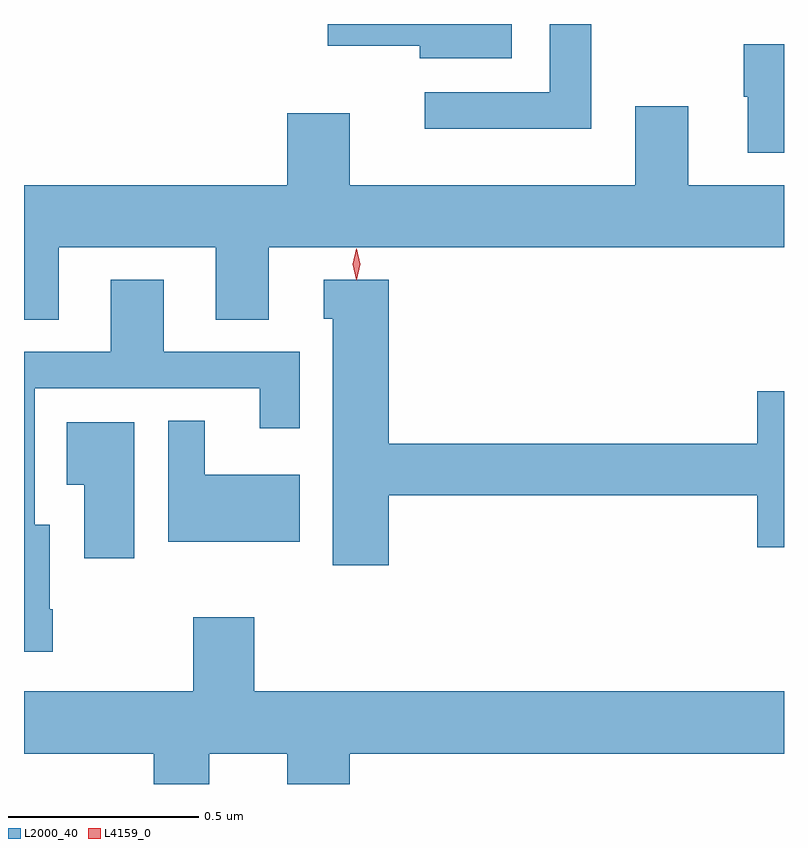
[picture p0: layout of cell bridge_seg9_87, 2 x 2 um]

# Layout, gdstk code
import gdstk
lib = gdstk.Library(unit=1e-6, precision=1e-09)
def P(c, l, *ps):  # polygons
    for p in ps: c.add(gdstk.Polygon(p, *l))
L2000_40 = (2000, 40)
L4159_0 = (4159, 0)

bridge_seg9_87 = lib.new_cell('bridge_seg9_87')
P(bridge_seg9_87, L2000_40, [(824.938,1230.308),(824.454,1230.308),(824.454,1230.251),(824.696,1230.251),(824.696,1230.218),(824.938,1230.218)],
  [(825.148,1230.308),(825.039,1230.308),(825.039,1230.129),(824.709,1230.129),(824.709,1230.032),(825.148,1230.032)],
  [(825.655,1230.255),(825.549,1230.255),(825.549,1230.116),(825.56,1230.116),(825.56,1229.969),(825.655,1229.969)],
  [(823.747,1229.72),(824.159,1229.72),(824.159,1229.53),(824.299,1229.53),(824.299,1229.72),(825.655,1229.72),(825.655,1229.884),(825.403,1229.884),(825.403,1230.091),(825.263,1230.091),(825.263,1229.884),(824.512,1229.884),(824.512,1230.073),(824.348,1230.073),(824.348,1229.884),(823.655,1229.884),(823.655,1229.53),(823.747,1229.53)],
  [(824.615,1229.068),(825.584,1229.068),(825.584,1228.931),(825.655,1228.931),(825.655,1229.341),(825.584,1229.341),(825.584,1229.204),(824.615,1229.204),(824.615,1229.635),(824.444,1229.635),(824.444,1229.532),(824.468,1229.532),(824.468,1228.884),(824.615,1228.884)],
  [(823.731,1228.768),(823.723,1228.768),(823.723,1228.99),(823.683,1228.99),(823.683,1229.349),(824.276,1229.349),(824.276,1229.244),(824.38,1229.244),(824.38,1229.445),(824.023,1229.445),(824.023,1229.635),(823.883,1229.635),(823.883,1229.445),(823.655,1229.445),(823.655,1228.656),(823.731,1228.656)],
  [(824.38,1229.122),(824.131,1229.122),(824.131,1229.264),(824.034,1229.264),(824.034,1228.946),(824.38,1228.946)],
  [(823.945,1229.26),(823.768,1229.26),(823.768,1229.096),(823.814,1229.096),(823.814,1228.902),(823.945,1228.902)],
  [(824.143,1228.388),(824.348,1228.388),(824.348,1228.308),(824.512,1228.308),(824.512,1228.388),(825.655,1228.388),(825.655,1228.552),(824.261,1228.552),(824.261,1228.747),(824.101,1228.747),(824.101,1228.552),(823.655,1228.552),(823.655,1228.388),(823.996,1228.388),(823.996,1228.308),(824.143,1228.308)])
P(bridge_seg9_87, L4159_0, [(824.53,1229.634),(824.529,1229.635),(824.52,1229.676),(824.529,1229.716),(824.53,1229.717),(824.53,1229.716),(824.54,1229.676),(824.53,1229.635)])

lib.write_gds('bridge_seg9_87.gds')
